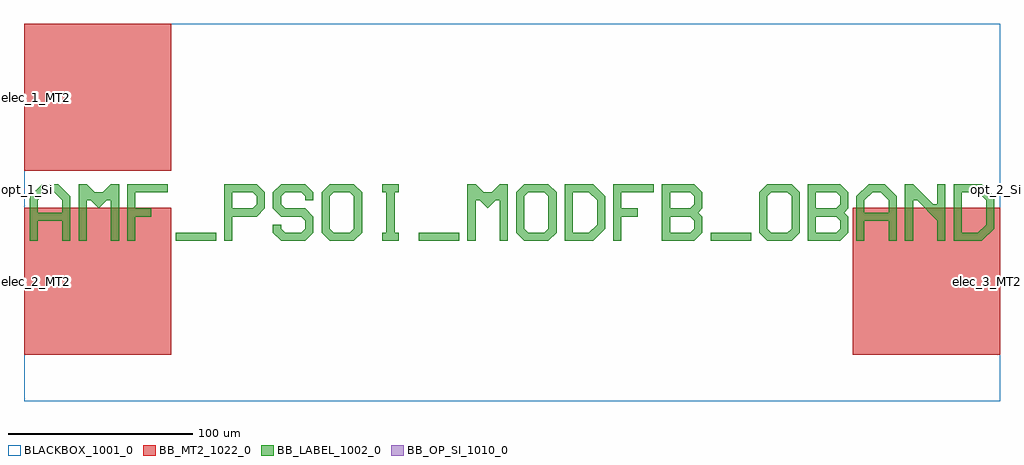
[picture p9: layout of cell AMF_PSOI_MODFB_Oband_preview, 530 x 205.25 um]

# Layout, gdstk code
import gdstk
lib = gdstk.Library(unit=1e-6, precision=1e-09)
def R(c, l, rs):  # rectangles x0, y0, x1, y1
    for r in rs: c.add(gdstk.rectangle(r[:2], r[2:], *l))
def P(c, l, *ps):  # polygons
    for p in ps: c.add(gdstk.Polygon(p, *l))
BLACKBOX_1001_0 = (1001, 0)
BB_LABEL_1002_0 = (1002, 0)
BB_OP_SI_1010_0 = (1010, 0)
BB_MT2_1022_0 = (1022, 0)

amf_psoi_modfb_oband_pre = lib.new_cell('AMF_PSOI_MODFB_Oband_preview')
R(amf_psoi_modfb_oband_pre, BLACKBOX_1001_0, [(0,-115.25,530,90)])
R(amf_psoi_modfb_oband_pre, BB_LABEL_1002_0, [(82.4,-28.025,104.4,-23.625), (214.4,-28.025,236.4,-23.625), (372.8,-28.025,394.8,-23.625)])
P(amf_psoi_modfb_oband_pre, BB_LABEL_1002_0, [(3.2,-28.025),(3.2,-3.825),(9.8,2.775),(18.6,2.775),(23,-1.625),(12,-1.625),(7.6,-6.025),(7.6,-12.625),(20.8,-12.625),(20.8,-6.025),(16.4,-1.625),(23,-1.625),(25.2,-3.825),(25.2,-28.025),(20.8,-28.025),(20.8,-17.025),(7.6,-17.025),(7.6,-28.025)],
  [(29.6,-28.025),(29.6,2.775),(34,2.775),(38.4,-1.625),(42.8,-1.625),(47.2,2.775),(51.6,2.775),(51.6,-28.025),(47.2,-28.025),(47.2,-6.025),(45,-6.025),(40.6,-10.425),(36.2,-6.025),(34,-6.025),(34,-28.025)],
  [(56,-28.025),(56,2.775),(78,2.775),(78,-1.625),(60.4,-1.625),(60.4,-10.425),(69.2,-10.425),(69.2,-14.825),(60.4,-14.825),(60.4,-28.025)],
  [(108.8,-28.025),(108.8,2.775),(126.4,2.775),(130.8,-1.625),(130.8,-10.425),(126.4,-14.825),(113.2,-14.825),(113.2,-10.425),(124.2,-10.425),(126.4,-8.225),(126.4,-3.825),(124.2,-1.625),(113.2,-1.625),(113.2,-28.025)],
  [(139.6,-28.025),(135.2,-23.625),(135.2,-19.225),(139.6,-19.225),(139.6,-21.425),(141.8,-23.625),(150.6,-23.625),(152.8,-21.425),(152.8,-17.025),(150.6,-14.825),(139.6,-14.825),(135.2,-10.425),(135.2,-1.625),(139.6,2.775),(152.8,2.775),(157.2,-1.625),(157.2,-6.025),(152.8,-6.025),(152.8,-3.825),(150.6,-1.625),(141.8,-1.625),(139.6,-3.825),(139.6,-8.225),(141.8,-10.425),(152.8,-10.425),(157.2,-14.825),(157.2,-23.625),(152.8,-28.025)],
  [(166,-28.025),(161.6,-23.625),(161.6,-1.625),(166,2.775),(179.2,2.775),(183.6,-1.625),(183.6,-12.625),(179.2,-12.625),(179.2,-3.825),(177,-1.625),(168.2,-1.625),(166,-3.825),(166,-21.425),(168.2,-23.625),(177,-23.625),(179.2,-21.425),(179.2,-12.625),(183.6,-12.625),(183.6,-23.625),(179.2,-28.025)],
  [(194.6,-28.025),(194.6,-23.625),(196.8,-23.625),(196.8,-1.625),(194.6,-1.625),(194.6,2.775),(203.4,2.775),(203.4,-1.625),(201.2,-1.625),(201.2,-23.625),(203.4,-23.625),(203.4,-28.025)],
  [(240.8,-28.025),(240.8,2.775),(245.2,2.775),(249.6,-1.625),(254,-1.625),(258.4,2.775),(262.8,2.775),(262.8,-28.025),(258.4,-28.025),(258.4,-6.025),(256.2,-6.025),(251.8,-10.425),(247.4,-6.025),(245.2,-6.025),(245.2,-28.025)],
  [(271.6,-28.025),(267.2,-23.625),(267.2,-1.625),(271.6,2.775),(284.8,2.775),(289.2,-1.625),(289.2,-12.625),(284.8,-12.625),(284.8,-3.825),(282.6,-1.625),(273.8,-1.625),(271.6,-3.825),(271.6,-21.425),(273.8,-23.625),(282.6,-23.625),(284.8,-21.425),(284.8,-12.625),(289.2,-12.625),(289.2,-23.625),(284.8,-28.025)],
  [(293.6,-28.025),(293.6,2.775),(309,2.775),(313.4,-1.625),(298,-1.625),(298,-23.625),(306.8,-23.625),(311.2,-19.225),(311.2,-6.025),(306.8,-1.625),(313.4,-1.625),(315.6,-3.825),(315.6,-21.425),(309,-28.025)],
  [(320,-28.025),(320,2.775),(342,2.775),(342,-1.625),(324.4,-1.625),(324.4,-10.425),(333.2,-10.425),(333.2,-14.825),(324.4,-14.825),(324.4,-28.025)],
  [(346.4,-28.025),(346.4,2.775),(364,2.775),(368.4,-1.625),(350.8,-1.625),(350.8,-10.425),(361.8,-10.425),(364,-8.225),(364,-3.825),(361.8,-1.625),(368.4,-1.625),(368.4,-10.425),(366.2,-12.625),(368.4,-14.825),(350.8,-14.825),(350.8,-23.625),(361.8,-23.625),(364,-21.425),(364,-17.025),(361.8,-14.825),(368.4,-14.825),(368.4,-23.625),(364,-28.025)],
  [(403.6,-28.025),(399.2,-23.625),(399.2,-1.625),(403.6,2.775),(416.8,2.775),(421.2,-1.625),(421.2,-12.625),(416.8,-12.625),(416.8,-3.825),(414.6,-1.625),(405.8,-1.625),(403.6,-3.825),(403.6,-21.425),(405.8,-23.625),(414.6,-23.625),(416.8,-21.425),(416.8,-12.625),(421.2,-12.625),(421.2,-23.625),(416.8,-28.025)],
  [(425.6,-28.025),(425.6,2.775),(443.2,2.775),(447.6,-1.625),(430,-1.625),(430,-10.425),(441,-10.425),(443.2,-8.225),(443.2,-3.825),(441,-1.625),(447.6,-1.625),(447.6,-10.425),(445.4,-12.625),(447.6,-14.825),(430,-14.825),(430,-23.625),(441,-23.625),(443.2,-21.425),(443.2,-17.025),(441,-14.825),(447.6,-14.825),(447.6,-23.625),(443.2,-28.025)],
  [(452,-28.025),(452,-3.825),(458.6,2.775),(467.4,2.775),(471.8,-1.625),(460.8,-1.625),(456.4,-6.025),(456.4,-12.625),(469.6,-12.625),(469.6,-6.025),(465.2,-1.625),(471.8,-1.625),(474,-3.825),(474,-28.025),(469.6,-28.025),(469.6,-17.025),(456.4,-17.025),(456.4,-28.025)],
  [(478.4,-28.025),(478.4,2.775),(482.8,2.775),(493.8,-8.225),(496,-8.225),(496,2.775),(500.4,2.775),(500.4,-28.025),(496,-28.025),(496,-17.025),(485,-6.025),(482.8,-6.025),(482.8,-28.025)],
  [(504.8,-28.025),(504.8,2.775),(520.2,2.775),(524.6,-1.625),(509.2,-1.625),(509.2,-23.625),(518,-23.625),(522.4,-19.225),(522.4,-6.025),(518,-1.625),(524.6,-1.625),(526.8,-3.825),(526.8,-21.425),(520.2,-28.025)])
R(amf_psoi_modfb_oband_pre, BB_OP_SI_1010_0, [(0,-0.205,0.4,0.205), (529.6,-0.205,530,0.205)])
R(amf_psoi_modfb_oband_pre, BB_MT2_1022_0, [(0,-90,80,-10), (450,-90,530,-10), (0,10,80,90)])
amf_psoi_modfb_oband_pre.add(gdstk.Label('opt_2_Si', (530,0), layer=1010, texttype=0))
amf_psoi_modfb_oband_pre.add(gdstk.Label('opt_1_Si', (0,0), layer=1010, texttype=0))
amf_psoi_modfb_oband_pre.add(gdstk.Label('elec_1_MT2', (0,50), layer=1022, texttype=0))
amf_psoi_modfb_oband_pre.add(gdstk.Label('elec_2_MT2', (0,-50), layer=1022, texttype=0))
amf_psoi_modfb_oband_pre.add(gdstk.Label('elec_3_MT2', (530,-50), layer=1022, texttype=0))

lib.write_gds('AMF_PSOI_MODFB_Oband_preview.gds')
